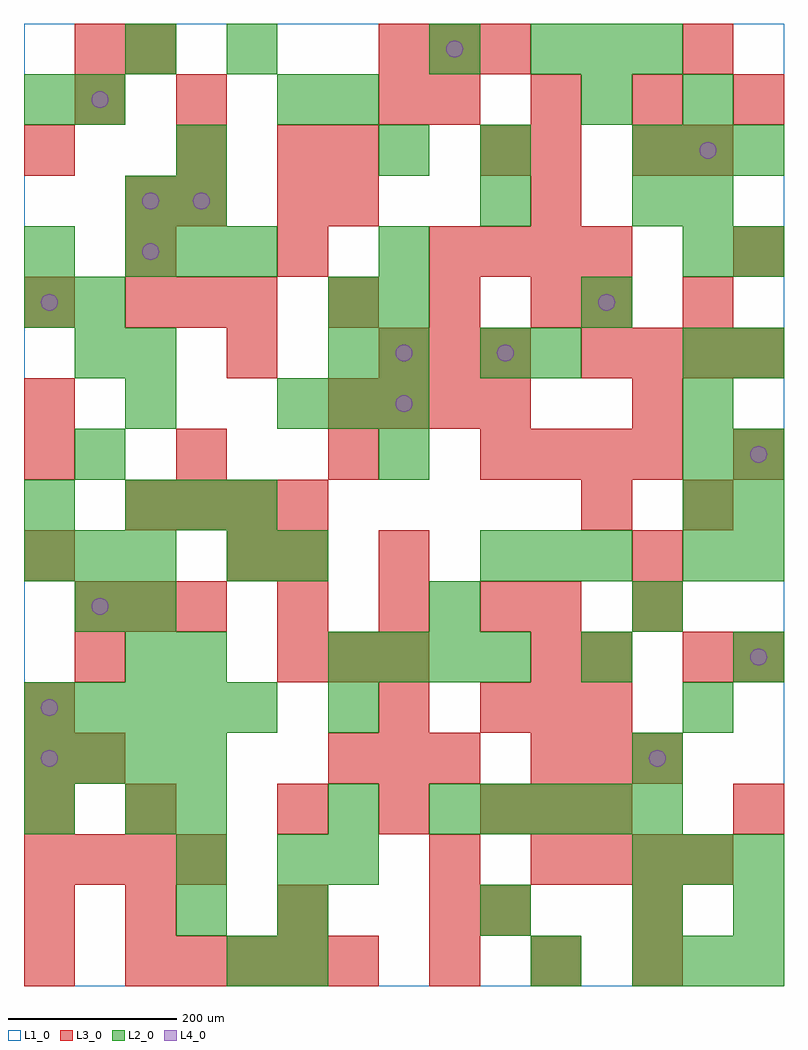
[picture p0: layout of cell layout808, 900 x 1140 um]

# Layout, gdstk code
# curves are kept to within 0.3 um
import gdstk
lib = gdstk.Library(unit=1e-6, precision=1e-09)
def R(c, l, rs):  # rectangles x0, y0, x1, y1
    for r in rs: c.add(gdstk.rectangle(r[:2], r[2:], *l))
def A(c, l, x, y, w, h, nx, ny, dx, dy):  # array of equal rectangles
    R(c, l, [(x+i*dx, y+j*dy, x+i*dx+w, y+j*dy+h) for i in range(nx) for j in range(ny)])
def P(c, l, *ps):  # polygons
    for p in ps: c.add(gdstk.Polygon(p, *l))
L1_0 = (1, 0)
L2_0 = (2, 0)
L3_0 = (3, 0)
L4_0 = (4, 0)

layout808 = lib.new_cell('layout808')
R(layout808, L1_0, [(0,0,900,1140)])
A(layout808, L2_0, 300, 0, 60, 60, 1, 3, 0, 60)
A(layout808, L2_0, 720, 0, 60, 60, 3, 2, 60, 120)
A(layout808, L2_0, 180, 60, 60, 60, 1, 3, 0, 60)
A(layout808, L2_0, 720, 60, 60, 60, 1, 3, 0, 180)
A(layout808, L2_0, 480, 180, 60, 60, 5, 1, 60, 0)
A(layout808, L2_0, 0, 240, 60, 60, 4, 1, 60, 0)
A(layout808, L2_0, 0, 300, 60, 60, 5, 1, 60, 0)
A(layout808, L2_0, 360, 360, 60, 60, 4, 1, 60, 0)
A(layout808, L2_0, 0, 480, 60, 60, 3, 1, 60, 0)
A(layout808, L2_0, 540, 480, 60, 60, 3, 1, 60, 0)
A(layout808, L2_0, 840, 480, 60, 60, 1, 3, 0, 60)
A(layout808, L2_0, 120, 540, 60, 60, 3, 2, 60, 300)
A(layout808, L2_0, 60, 600, 60, 60, 3, 1, 360, 0)
A(layout808, L2_0, 300, 660, 60, 60, 3, 1, 60, 0)
A(layout808, L2_0, 120, 720, 60, 60, 1, 3, 0, 180)
A(layout808, L2_0, 420, 720, 60, 60, 1, 3, 0, 60)
A(layout808, L2_0, 720, 960, 60, 60, 3, 1, 60, 0)
A(layout808, L2_0, 600, 1080, 60, 60, 3, 1, 60, 0)
R(layout808, L2_0, [(240,0,300,60), (600,0,660,60), (540,60,600,120), (840,60,900,120), (360,120,420,180), (0,180,60,240), (120,180,180,240), (360,180,420,240), (360,300,420,360), (780,300,840,360), (120,360,180,420), (180,360,240,420), (660,360,720,420), (840,360,900,420), (60,420,120,480), (120,420,180,480), (480,420,540,480), (240,480,300,540), (300,480,360,540), (780,480,840,540), (0,540,60,600), (780,540,840,600), (120,660,180,720), (780,660,840,720), (60,720,120,780), (360,720,420,780), (540,720,600,780), (600,720,660,780), (780,720,840,780), (840,720,900,780), (0,780,60,840), (60,780,120,840), (360,780,420,840), (660,780,720,840), (0,840,60,900), (780,840,840,900), (840,840,900,900), (180,900,240,960), (540,900,600,960), (720,900,780,960), (780,900,840,960), (180,960,240,1020), (420,960,480,1020), (540,960,600,1020), (0,1020,60,1080), (60,1020,120,1080), (300,1020,360,1080), (360,1020,420,1080), (660,1020,720,1080), (780,1020,840,1080), (240,1080,300,1140), (480,1080,540,1140)])
A(layout808, L3_0, 120, 0, 60, 60, 5, 1, 60, 0)
A(layout808, L3_0, 480, 0, 60, 60, 3, 1, 120, 0)
A(layout808, L3_0, 120, 60, 60, 60, 3, 2, 180, 780)
A(layout808, L3_0, 0, 120, 60, 60, 4, 1, 60, 0)
A(layout808, L3_0, 600, 120, 60, 60, 4, 1, 60, 0)
A(layout808, L3_0, 0, 180, 60, 60, 1, 3, 0, 60)
A(layout808, L3_0, 300, 180, 60, 60, 3, 2, 120, 240)
A(layout808, L3_0, 660, 180, 60, 60, 1, 3, 0, 180)
A(layout808, L3_0, 360, 240, 60, 60, 3, 1, 60, 0)
A(layout808, L3_0, 600, 240, 60, 60, 3, 2, 60, 360)
A(layout808, L3_0, 540, 300, 60, 60, 3, 2, 60, 540)
A(layout808, L3_0, 300, 360, 60, 60, 3, 1, 60, 0)
A(layout808, L3_0, 840, 360, 60, 60, 1, 3, 0, 240)
A(layout808, L3_0, 60, 420, 60, 60, 3, 1, 60, 0)
A(layout808, L3_0, 120, 540, 60, 60, 4, 1, 60, 0)
A(layout808, L3_0, 0, 600, 60, 60, 4, 1, 180, 0)
A(layout808, L3_0, 360, 660, 60, 60, 4, 1, 60, 0)
A(layout808, L3_0, 420, 720, 60, 60, 3, 2, 60, 360)
A(layout808, L3_0, 660, 720, 60, 60, 4, 1, 60, 0)
A(layout808, L3_0, 120, 780, 60, 60, 3, 1, 60, 0)
A(layout808, L3_0, 360, 780, 60, 60, 3, 1, 120, 0)
A(layout808, L3_0, 180, 900, 60, 60, 1, 3, 0, 60)
A(layout808, L3_0, 480, 1020, 60, 60, 4, 1, 120, 0)
R(layout808, L3_0, [(0,0,60,60), (0,60,60,120), (540,60,600,120), (720,60,780,120), (480,120,540,180), (120,180,180,240), (600,180,660,240), (840,180,900,240), (60,240,120,300), (420,300,480,360), (60,360,120,420), (600,360,660,420), (780,360,840,420), (600,420,660,480), (720,420,780,480), (0,480,60,540), (240,480,300,540), (300,480,360,540), (420,480,480,540), (720,480,780,540), (780,540,840,600), (0,660,60,720), (720,660,780,720), (240,720,300,780), (0,780,60,840), (660,780,720,840), (780,780,840,840), (120,900,180,960), (300,900,360,960), (360,900,420,960), (600,900,660,960), (0,960,60,1020), (300,960,360,1020), (360,960,420,1020), (540,960,600,1020), (600,960,660,1020), (720,960,780,1020), (780,960,840,1020), (60,1020,120,1080), (420,1020,480,1080), (60,1080,120,1140), (120,1080,180,1140), (780,1080,840,1140)])
P(layout808, L4_0, [(40,270),(39.239,273.827),(37.071,277.071),(33.827,279.239),(30,280),(26.173,279.239),(22.929,277.071),(20.761,273.827),(20,270),(20.761,266.173),(22.929,262.929),(26.173,260.761),(30,260),(33.827,260.761),(37.071,262.929),(39.239,266.173)],
  [(40,330),(39.239,333.827),(37.071,337.071),(33.827,339.239),(30,340),(26.173,339.239),(22.929,337.071),(20.761,333.827),(20,330),(20.761,326.173),(22.929,322.929),(26.173,320.761),(30,320),(33.827,320.761),(37.071,322.929),(39.239,326.173)],
  [(40,810),(39.239,813.827),(37.071,817.071),(33.827,819.239),(30,820),(26.173,819.239),(22.929,817.071),(20.761,813.827),(20,810),(20.761,806.173),(22.929,802.929),(26.173,800.761),(30,800),(33.827,800.761),(37.071,802.929),(39.239,806.173)],
  [(100,450),(99.239,453.827),(97.071,457.071),(93.827,459.239),(90,460),(86.173,459.239),(82.929,457.071),(80.761,453.827),(80,450),(80.761,446.173),(82.929,442.929),(86.173,440.761),(90,440),(93.827,440.761),(97.071,442.929),(99.239,446.173)],
  [(100,1050),(99.239,1053.827),(97.071,1057.071),(93.827,1059.239),(90,1060),(86.173,1059.239),(82.929,1057.071),(80.761,1053.827),(80,1050),(80.761,1046.173),(82.929,1042.929),(86.173,1040.761),(90,1040),(93.827,1040.761),(97.071,1042.929),(99.239,1046.173)],
  [(160,870),(159.239,873.827),(157.071,877.071),(153.827,879.239),(150,880),(146.173,879.239),(142.929,877.071),(140.761,873.827),(140,870),(140.761,866.173),(142.929,862.929),(146.173,860.761),(150,860),(153.827,860.761),(157.071,862.929),(159.239,866.173)],
  [(160,930),(159.239,933.827),(157.071,937.071),(153.827,939.239),(150,940),(146.173,939.239),(142.929,937.071),(140.761,933.827),(140,930),(140.761,926.173),(142.929,922.929),(146.173,920.761),(150,920),(153.827,920.761),(157.071,922.929),(159.239,926.173)],
  [(220,930),(219.239,933.827),(217.071,937.071),(213.827,939.239),(210,940),(206.173,939.239),(202.929,937.071),(200.761,933.827),(200,930),(200.761,926.173),(202.929,922.929),(206.173,920.761),(210,920),(213.827,920.761),(217.071,922.929),(219.239,926.173)],
  [(460,690),(459.239,693.827),(457.071,697.071),(453.827,699.239),(450,700),(446.173,699.239),(442.929,697.071),(440.761,693.827),(440,690),(440.761,686.173),(442.929,682.929),(446.173,680.761),(450,680),(453.827,680.761),(457.071,682.929),(459.239,686.173)],
  [(460,750),(459.239,753.827),(457.071,757.071),(453.827,759.239),(450,760),(446.173,759.239),(442.929,757.071),(440.761,753.827),(440,750),(440.761,746.173),(442.929,742.929),(446.173,740.761),(450,740),(453.827,740.761),(457.071,742.929),(459.239,746.173)],
  [(520,1110),(519.239,1113.827),(517.071,1117.071),(513.827,1119.239),(510,1120),(506.173,1119.239),(502.929,1117.071),(500.761,1113.827),(500,1110),(500.761,1106.173),(502.929,1102.929),(506.173,1100.761),(510,1100),(513.827,1100.761),(517.071,1102.929),(519.239,1106.173)],
  [(580,750),(579.239,753.827),(577.071,757.071),(573.827,759.239),(570,760),(566.173,759.239),(562.929,757.071),(560.761,753.827),(560,750),(560.761,746.173),(562.929,742.929),(566.173,740.761),(570,740),(573.827,740.761),(577.071,742.929),(579.239,746.173)],
  [(700,810),(699.239,813.827),(697.071,817.071),(693.827,819.239),(690,820),(686.173,819.239),(682.929,817.071),(680.761,813.827),(680,810),(680.761,806.173),(682.929,802.929),(686.173,800.761),(690,800),(693.827,800.761),(697.071,802.929),(699.239,806.173)],
  [(760,270),(759.239,273.827),(757.071,277.071),(753.827,279.239),(750,280),(746.173,279.239),(742.929,277.071),(740.761,273.827),(740,270),(740.761,266.173),(742.929,262.929),(746.173,260.761),(750,260),(753.827,260.761),(757.071,262.929),(759.239,266.173)],
  [(820,990),(819.239,993.827),(817.071,997.071),(813.827,999.239),(810,1000),(806.173,999.239),(802.929,997.071),(800.761,993.827),(800,990),(800.761,986.173),(802.929,982.929),(806.173,980.761),(810,980),(813.827,980.761),(817.071,982.929),(819.239,986.173)],
  [(880,390),(879.239,393.827),(877.071,397.071),(873.827,399.239),(870,400),(866.173,399.239),(862.929,397.071),(860.761,393.827),(860,390),(860.761,386.173),(862.929,382.929),(866.173,380.761),(870,380),(873.827,380.761),(877.071,382.929),(879.239,386.173)],
  [(880,630),(879.239,633.827),(877.071,637.071),(873.827,639.239),(870,640),(866.173,639.239),(862.929,637.071),(860.761,633.827),(860,630),(860.761,626.173),(862.929,622.929),(866.173,620.761),(870,620),(873.827,620.761),(877.071,622.929),(879.239,626.173)])

lib.write_gds('layout808.gds')
